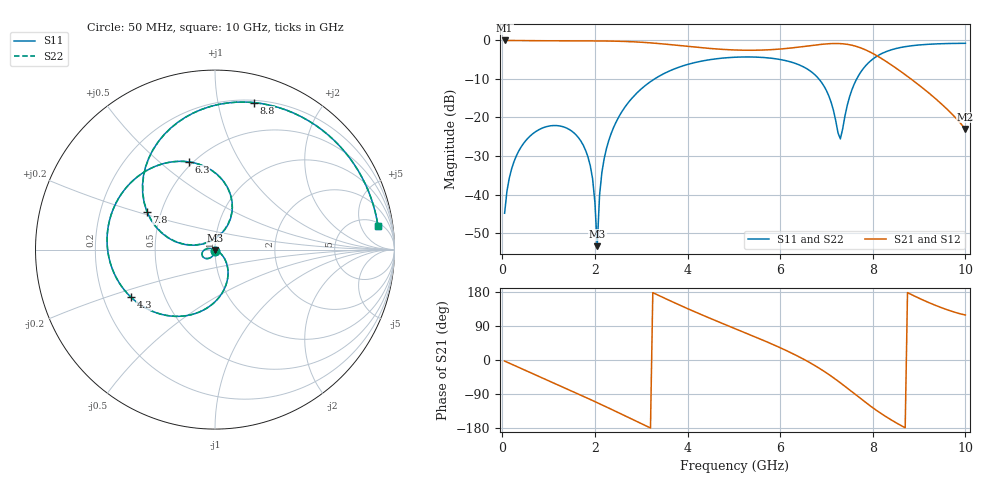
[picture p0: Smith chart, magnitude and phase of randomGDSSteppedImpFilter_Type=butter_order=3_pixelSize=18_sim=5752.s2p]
! freq	dB(S11)	phase(S11)	dB(S12)	phase(S12)
!  dB(S21)	phase(S21)	dB(S22)	phase(S22)
!S-par simulation data
#  GHz  S  DB  R 50
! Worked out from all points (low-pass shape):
!   200 points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, 50 MHz to 10 GHz, reference 50 ohm
!   highest |S21| = -0.01 dB at 50 MHz (marker M1); lowest = -23.0 dB at 10 GHz (marker M2)
!   |S21| within 3 dB of the highest: start of sweep to 7.941 GHz
!   lowest |S11| = -53.4 dB at 2.05 GHz (marker M3), VSWR 1.00, Z = 50.1 - j0.206 ohm
!   |S11| at or under -10 dB: start of sweep to 3.288 GHz; 6.835 GHz to 7.653 GHz (817.3 MHz wide, 11.3 % of centre)
!   |S22| runs from -53.4 to -0.7 dB; largest |S21 - S12| = 0
!   S11 on the Smith chart (normalised r, x): 50 MHz: 1.00, -0.01; 4.3 GHz: 0.32, -0.24; 6.3 GHz: 0.48, +0.63; 7.8 GHz: 0.42, +0.22; 8.8 GHz: 0.22, +1.27; 10 GHz: 6, +10
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0.05  -44.85 -87.0  -0.01 -2.8  -0.01 -2.8  -44.85 -87.1
0.25  -31.54 -103.3  -0.02 -13.7  -0.02 -13.7  -31.54 -103.3
0.65  -24.30 -126.1  -0.06 -35.5  -0.06 -35.5  -24.30 -126.1
1.25  -22.22 -159.1  -0.11 -68.2  -0.11 -68.2  -22.22 -159.1
1.75  -27.24 173.3  -0.12 -95.8  -0.12 -95.8  -27.24 173.3
1.95  -35.91 162.1  -0.12 -107.0  -0.12 -107.0  -35.91 162.1
2.05  -53.40 -73.9  -0.13 -112.6  -0.13 -112.6  -53.39 -73.8
2.1  -40.23 -26.4  -0.14 -115.5  -0.14 -115.5  -40.23 -26.3
2.15  -34.30 -29.2  -0.14 -118.3  -0.14 -118.3  -34.30 -29.2
2.35  -24.18 -40.7  -0.17 -129.8  -0.17 -129.8  -24.18 -40.7
3.4  -9.19 -101.7  -0.83 169.0  -0.83 169.0  -9.19 -101.7
4.3  -5.38 -150.6  -1.89 119.7  -1.89 119.7  -5.38 -150.6
5.05  -4.35 171.8  -2.49 81.6  -2.49 81.6  -4.35 171.8
6.3  -5.85 106.6  -1.88 15.1  -1.88 15.1  -5.84 106.7
6.7  -8.39 82.4  -1.29 -11.1  -1.29 -11.1  -8.39 82.6
7.05  -14.37 63.3  -0.85 -38.2  -0.85 -38.2  -14.35 63.7
7.3  -25.55 121.9  -0.83 -60.2  -0.83 -60.2  -25.27 121.7
7.5  -14.59 170.3  -1.12 -79.1  -1.12 -79.1  -14.56 169.8
7.8  -7.24 150.8  -2.22 -107.8  -2.22 -107.8  -7.23 150.6
8.35  -2.63 106.4  -5.94 -154.5  -5.94 -154.5  -2.63 106.2
8.8  -1.44 75.2  -9.77 174.8  -9.77 174.8  -1.44 75.1
10  -0.75 8.3  -23.00 118.7  -23.00 118.7  -0.75 8.3
